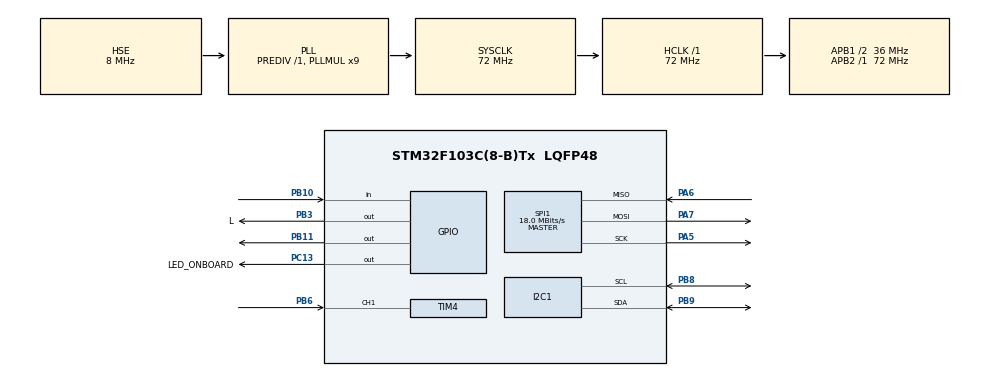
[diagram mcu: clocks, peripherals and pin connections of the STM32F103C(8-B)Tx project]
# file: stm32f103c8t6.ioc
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Mcu.Family=STM32F1
Mcu.Name=STM32F103C(8-B)Tx
Mcu.Package=LQFP48
NVIC.PriorityGroup=NVIC_PRIORITYGROUP_4
NVIC.TIM3_IRQn=true\:0\:0\:false\:false\:true
NVIC.TIM4_IRQn=true\:0\:0\:false\:false\:true
PA13.Mode=Serial_Wire
PA13.Signal=SYS_JTMS-SWDIO
PA14.Mode=Serial_Wire
PA14.Signal=SYS_JTCK-SWCLK
PA5.Mode=Full_Duplex_Master
PA5.Signal=SPI1_SCK
PA6.Mode=Full_Duplex_Master
PA6.Signal=SPI1_MISO
PA7.Mode=Full_Duplex_Master
PA7.Signal=SPI1_MOSI
PB10.Signal=GPIO_Input
PB11.Signal=GPIO_Output
PB3.GPIO_Label=L
PB3.GPIO_Speed=GPIO_SPEED_FREQ_HIGH
PB3.Signal=GPIO_Output
PB6.Signal=S_TIM4_CH1
PB8.Mode=I2C
PB8.Signal=I2C1_SCL
PB9.Mode=I2C
PB9.Signal=I2C1_SDA
PC13-TAMPER-RTC.GPIO_Label=LED_ONBOARD
PC13-TAMPER-RTC.GPIO_Speed=GPIO_SPEED_FREQ_LOW
PC13-TAMPER-RTC.Signal=GPIO_Output
PD0-OSC_IN.Mode=HSE-External-Oscillator
PD0-OSC_IN.Signal=RCC_OSC_IN
PD1-OSC_OUT.Mode=HSE-External-Oscillator
PD1-OSC_OUT.Signal=RCC_OSC_OUT
ProjectManager.HeapSize=0x200
ProjectManager.StackSize=0x400
ProjectManager.TargetToolchain=SW4STM32
RCC.ADCPresc=RCC_ADCPCLK2_DIV6
RCC.AHBFreq_Value=72000000
RCC.APB1CLKDivider=RCC_HCLK_DIV2
RCC.APB1Freq_Value=36000000
RCC.APB1TimFreq_Value=72000000
RCC.APB2Freq_Value=72000000
RCC.APB2TimFreq_Value=72000000
RCC.HCLKFreq_Value=72000000
RCC.HSIState=RCC_HSI_ON
RCC.PLLMUL=RCC_PLL_MUL9
RCC.PLLSourceVirtual=RCC_PLLSOURCE_HSE
RCC.SYSCLKFreq_VALUE=72000000
RCC.SYSCLKSource=RCC_SYSCLKSOURCE_PLLCLK
RCC.USBFreq_Value=48000000
RCC.USBPrescaler=RCC_USBCLKSOURCE_PLL_DIV1_5
SH.S_TIM4_CH1.0=TIM4_CH1,Input_Capture1_from_TI1
SH.S_TIM4_CH1.1=TIM4_CH1,Input_Capture2_from_TI1
SH.S_TIM4_CH1.2=TIM4_CH1,TriggerSource_TI1FP1
SPI1.BaudRatePrescaler=SPI_BAUDRATEPRESCALER_4
SPI1.CalculateBaudRate=18.0 MBits/s
SPI1.Mode=SPI_MODE_MASTER
TIM2.Period=71
TIM3.Period=100-1
TIM3.Prescaler=(72-1)
TIM3.TIM_MasterOutputTrigger=TIM_TRGO_UPDATE
TIM3.TIM_MasterSlaveMode=TIM_MASTERSLAVEMODE_DISABLE
TIM4.Channel-Input_Capture2_from_TI1=TIM_CHANNEL_2
TIM4.ICPolarity_CH1=TIM_INPUTCHANNELPOLARITY_FALLING
TIM4.Period=65535
TIM4.Prescaler=72-1
TIM4.TIM_MasterOutputTrigger=TIM_TRGO_OC1
VP_CRC_VS_CRC.Mode=CRC_Activate
VP_TIM2_VS_ClockSourceINT.Mode=Internal
VP_TIM3_VS_ClockSourceINT.Mode=Internal
VP_TIM4_VS_ClockSourceINT.Mode=Internal
VP_TIM4_VS_ControllerModeReset.Mode=Reset Mode
board=stm32f103c8t6

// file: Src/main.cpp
/**
  ******************************************************************************
  * File Name          : main.c
  * Description        : Main program body
  ******************************************************************************
  *
  * COPYRIGHT(c) 2016 STMicroelectronics
  *
  * Redistribution and use in source and binary forms, with or without
  *modification,
  * are permitted provided that the following conditions are met:
  *   1. Redistributions of source code must retain the above copyright notice,
  *      this list of conditions and the following disclaimer.
  *   2. Redistributions in binary form must reproduce the above copyright
  *notice,
  *      this list of conditions and the following disclaimer in the
  *documentation
  *      and/or other materials provided with the distribution.
  *   3. Neither the name of STMicroelectronics nor the names of its
  *contributors
  *      may be used to endorse or promote products derived from this software
  *      without specific prior written permission.
  *
  * THIS SOFTWARE IS PROVIDED BY THE COPYRIGHT HOLDERS AND CONTRIBUTORS "AS IS"
  * AND ANY EXPRESS OR IMPLIED WARRANTIES, INCLUDING, BUT NOT LIMITED TO, THE
  * IMPLIED WARRANTIES OF MERCHANTABILITY AND FITNESS FOR A PARTICULAR PURPOSE
  *ARE
  * DISCLAIMED. IN NO EVENT SHALL THE COPYRIGHT HOLDER OR CONTRIBUTORS BE LIABLE
  * FOR ANY DIRECT, INDIRECT, INCIDENTAL, SPECIAL, EXEMPLARY, OR CONSEQUENTIAL
  * DAMAGES (INCLUDING, BUT NOT LIMITED TO, PROCUREMENT OF SUBSTITUTE GOODS OR
  * SERVICES; LOSS OF USE, DATA, OR PROFITS; OR BUSINESS INTERRUPTION) HOWEVER
  * CAUSED AND ON ANY THEORY OF LIABILITY, WHETHER IN CONTRACT, STRICT
  *LIABILITY,
  * OR TORT (INCLUDING NEGLIGENCE OR OTHERWISE) ARISING IN ANY WAY OUT OF THE
  *USE
  * OF THIS SOFTWARE, EVEN IF ADVISED OF THE POSSIBILITY OF SUCH DAMAGE.
  *
  ******************************************************************************
  */
#include "stm32f1xx_hal.h"

/* USER CODE BEGIN Includes */
#include <stdbool.h>
#include "MPU6050.h"
#include "common.h"
#include "infrared.h"
#include "se8r01.h"
#include "sensor.h"
#define USE_OLD_MAPPING 1

// TODO: cleanup when done debugging
/* USER CODE END Includes */

CRC_HandleTypeDef hcrc;

I2C_HandleTypeDef hi2c1;

SPI_HandleTypeDef hspi1;

TIM_HandleTypeDef htim2;
TIM_HandleTypeDef htim3;
TIM_HandleTypeDef htim4;

/* USER CODE BEGIN PV */
/* Private variables ---------------------------------------------------------*/
/// parameters for receiver ===================
const GPIO_TypeDef *IR_IN_Gpio_Port = GPIOB;
extern uint16_t IR_IN_Gpio_Pin = GPIO_PIN_10;

TIM_HandleTypeDef *ptim_input_capture = &htim4;
TIM_HandleTypeDef *ptim_data_read = &htim3;
namespace auvir {
extern TIM_HandleTypeDef *const phtim_delay = &htim2;
}

extern const bool _is_direct_logic;
const bool _debug = true;

extern GPIO_TypeDef *GPIO_LED_PORT;
extern uint16_t GPIO_LED_PIN;

/// ===========================================

/* USER CODE END PV */

void SystemClock_Config(void);
void Error_Handler(void);
static void MX_GPIO_Init(void);
static void MX_CRC_Init(void);
static void MX_SPI1_Init(void);
static void MX_TIM3_Init(void);
static void MX_TIM4_Init(void);
static void MX_TIM2_Init(void);
static void MX_I2C1_Init(void);

/* USER CODE BEGIN PFP */
/* Private function prototypes -----------------------------------------------*/
HAL_StatusTypeDef HAL_TIM_IC_PWM_Start_IT(const TIM_HandleTypeDef *htim);
HAL_StatusTypeDef HAL_TIM_IC_PWM_Stop_IT(const TIM_HandleTypeDef *htim);
void send_data_uart();
void setup_infrared_input_gpio();

extern uint8_t rx_buf[TX_PLOAD_WIDTH];
extern uint8_t tx_buf[TX_PLOAD_WIDTH];
extern RadioMessage rx_message;
extern RadioMessage tx_message;

extern NRF_Module default_module;
extern NRF_Module data_module;

extern RadioDevInfo radiodevinfo;
extern SensorData sensordata;
BeamerData beamerdata = {0};
IMUData imudata = {0};

/* USER CODE END PFP */

/* USER CODE BEGIN 0 */
/// ======================= USART stuff =======================
HAL_StatusTypeDef status;
extern DataFrame_t rx_data_frame;

const char mode = 'r';  // 't'
/* USER CODE END 0 */

int main(void) {

  /* MCU
   * Configuration----------------------------------------------------------*/
  /* Reset of all peripherals, Initializes the Flash interface and the Systick.
   */
  HAL_Init();

  /* Configure the system clock */
  SystemClock_Config();

  /* Initialize all configured peripherals */
  MX_GPIO_Init();
  MX_CRC_Init();
  MX_SPI1_Init();
  MX_TIM3_Init();
  MX_TIM4_Init();
  MX_TIM2_Init();
  MX_I2C1_Init();

  /* USER CODE BEGIN 2 */
  setup_infrared_input_gpio();

  bool use_radio = true;

  if (use_radio) {
    configure_gpio_radio();
  }

  // TODO: setting the timer. merge with TIM_Init

  //// start usec delay timer
  HAL_TIM_Base_Start(&htim2);

  bool enable_IR_timers = true;  // TODO
  if (enable_IR_timers) {
    setup_ic_timer();
    HAL_TIM_Base_Start_IT(ptim_data_read);
    HAL_TIM_IC_PWM_Start_IT(ptim_input_capture);
  }
  /* USER CODE END 2 */

  /* Infinite loop */
  /* USER CODE BEGIN WHILE */

  // use identical bytes
  bool is_transmitter = (mode == 't');
  bool is_receiver = !is_transmitter;

  const NRF24_Mode mode = NRF24_Mode::Receiver;

  if (use_radio) {
    setup_radio(&default_module, mode);
  }

  // nrf_without_this_interrupts_not_work();
  HAL_Delay(100);

  if (MPU6050_testConnection()) {
    HAL_GPIO_WritePin(LED_ONBOARD_Port, LED_ONBOARD_Pin, GPIO_PIN_SET);
  } else {
    HAL_GPIO_WritePin(LED_ONBOARD_Port, LED_ONBOARD_Pin, GPIO_PIN_RESET);
  }

  while (1) {
    /*
    GPIO_PinState state = HAL_GPIO_ReadPin (GPIOB, GPIO_PIN_6);
    if(state == GPIO_PIN_SET){
        HAL_GPIO_WritePin (GPIOB, GPIO_PIN_11, GPIO_PIN_SET);
        HAL_GPIO_WritePin (LED_ONBOARD_Port, LED_ONBOARD_Pin,
    GPIO_PIN_SET);
    }
    else{
        HAL_GPIO_WritePin (GPIOB, GPIO_PIN_11, GPIO_PIN_RESET);
        HAL_GPIO_WritePin (LED_ONBOARD_Port, LED_ONBOARD_Pin,
    GPIO_PIN_SET);
    }
    */

    if (use_radio) {
      if (is_receiver) {
        RXX(&default_module);  // - this is called on IRQ
      } else if (is_transmitter) {
        //=================== prepare message for sending
        // Determine source of packet
        radio_tx_set_message_header(WhoAmI_Sensor, Dest_UsbDevice,
                                    Typ_SensorData);

        SingleBeamerData singlebeamdata;
        singlebeamdata.angle = 124;
        singlebeamdata.beamer_id = 1;

        beamerdata.beamer_data_array[0] = singlebeamdata;

        radio_tx_set_sensordata(&sensordata);
        //=====================

        TXX(&default_module);
        HAL_Delay(30);
      }
    }

    /* USER CODE END WHILE */

  }
}

/** System Clock Configuration
*/
void SystemClock_Config(void) {
  RCC_OscInitTypeDef RCC_OscInitStruct;
  RCC_ClkInitTypeDef RCC_ClkInitStruct;

  RCC_OscInitStruct.OscillatorType = RCC_OSCILLATORTYPE_HSE;
  RCC_OscInitStruct.HSEState = RCC_HSE_ON;
  RCC_OscInitStruct.HSEPredivValue = RCC_HSE_PREDIV_DIV1;
  RCC_OscInitStruct.PLL.PLLState = RCC_PLL_ON;
  RCC_OscInitStruct.PLL.PLLSource = RCC_PLLSOURCE_HSE;
  RCC_OscInitStruct.PLL.PLLMUL = RCC_PLL_MUL9;
  if (HAL_RCC_OscConfig(&RCC_OscInitStruct) != HAL_OK) {
    Error_Handler();
  }

  RCC_ClkInitStruct.ClockType = RCC_CLOCKTYPE_HCLK | RCC_CLOCKTYPE_SYSCLK |
                                RCC_CLOCKTYPE_PCLK1 | RCC_CLOCKTYPE_PCLK2;
  RCC_ClkInitStruct.SYSCLKSource = RCC_SYSCLKSOURCE_PLLCLK;
  RCC_ClkInitStruct.AHBCLKDivider = RCC_SYSCLK_DIV1;
  RCC_ClkInitStruct.APB1CLKDivider = RCC_HCLK_DIV2;
  RCC_ClkInitStruct.APB2CLKDivider = RCC_HCLK_DIV1;
  if (HAL_RCC_ClockConfig(&RCC_ClkInitStruct, FLASH_LATENCY_2) != HAL_OK) {
    Error_Handler();
  }

  HAL_SYSTICK_Config(HAL_RCC_GetHCLKFreq() / 1000);

  HAL_SYSTICK_CLKSourceConfig(SYSTICK_CLKSOURCE_HCLK);

  /* SysTick_IRQn interrupt configuration */
  HAL_NVIC_SetPriority(SysTick_IRQn, 0, 0);
}

/* CRC init function */
static void MX_CRC_Init(void) {
  hcrc.Instance = CRC;
  if (HAL_CRC_Init(&hcrc) != HAL_OK) {
    Error_Handler();
  }
}

/* I2C1 init function */
static void MX_I2C1_Init(void) {
  hi2c1.Instance = I2C1;
  hi2c1.Init.ClockSpeed = 100000;
  hi2c1.Init.DutyCycle = I2C_DUTYCYCLE_2;
  hi2c1.Init.OwnAddress1 = 0;
  hi2c1.Init.AddressingMode = I2C_ADDRESSINGMODE_7BIT;
  hi2c1.Init.DualAddressMode = I2C_DUALADDRESS_DISABLE;
  hi2c1.Init.OwnAddress2 = 0;
  hi2c1.Init.GeneralCallMode = I2C_GENERALCALL_DISABLE;
  hi2c1.Init.NoStretchMode = I2C_NOSTRETCH_DISABLE;
  if (HAL_I2C_Init(&hi2c1) != HAL_OK) {
    Error_Handler();
  }
}

/* SPI1 init function */
static void MX_SPI1_Init(void) {
  hspi1.Instance = SPI1;
  hspi1.Init.Mode = SPI_MODE_MASTER;
  hspi1.Init.Direction = SPI_DIRECTION_2LINES;
  hspi1.Init.DataSize = SPI_DATASIZE_8BIT;
  hspi1.Init.CLKPolarity = SPI_POLARITY_LOW;
  hspi1.Init.CLKPhase = SPI_PHASE_1EDGE;
  hspi1.Init.NSS = SPI_NSS_SOFT;
  hspi1.Init.BaudRatePrescaler = SPI_BAUDRATEPRESCALER_4;
  hspi1.Init.FirstBit = SPI_FIRSTBIT_MSB;
  hspi1.Init.TIMode = SPI_TIMODE_DISABLE;
  hspi1.Init.CRCCalculation = SPI_CRCCALCULATION_DISABLE;
  hspi1.Init.CRCPolynomial = 10;
  if (HAL_SPI_Init(&hspi1) != HAL_OK) {
    Error_Handler();
  }
}

/* TIM2 init function */
static void MX_TIM2_Init(void) {
  TIM_ClockConfigTypeDef sClockSourceConfig;
  TIM_MasterConfigTypeDef sMasterConfig;

  htim2.Instance = TIM2;
  htim2.Init.Prescaler = 0;
  htim2.Init.CounterMode = TIM_COUNTERMODE_UP;
  htim2.Init.Period = 71;
  htim2.Init.ClockDivision = TIM_CLOCKDIVISION_DIV1;
  if (HAL_TIM_Base_Init(&htim2) != HAL_OK) {
    Error_Handler();
  }

  sClockSourceConfig.ClockSource = TIM_CLOCKSOURCE_INTERNAL;
  if (HAL_TIM_ConfigClockSource(&htim2, &sClockSourceConfig) != HAL_OK) {
    Error_Handler();
  }

  sMasterConfig.MasterOutputTrigger = TIM_TRGO_RESET;
  sMasterConfig.MasterSlaveMode = TIM_MASTERSLAVEMODE_DISABLE;
  if (HAL_TIMEx_MasterConfigSynchronization(&htim2, &sMasterConfig) != HAL_OK) {
    Error_Handler();
  }
}

/* TIM3 init function */
static void MX_TIM3_Init(void) {
  TIM_ClockConfigTypeDef sClockSourceConfig;
  TIM_MasterConfigTypeDef sMasterConfig;

  htim3.Instance = TIM3;
  htim3.Init.Prescaler = (72 - 1);
  htim3.Init.CounterMode = TIM_COUNTERMODE_UP;
  htim3.Init.Period = 100 - 1;
  htim3.Init.ClockDivision = TIM_CLOCKDIVISION_DIV1;
  if (HAL_TIM_Base_Init(&htim3) != HAL_OK) {
    Error_Handler();
  }

  sClockSourceConfig.ClockSource = TIM_CLOCKSOURCE_INTERNAL;
  if (HAL_TIM_ConfigClockSource(&htim3, &sClockSourceConfig) != HAL_OK) {
    Error_Handler();
  }

  sMasterConfig.MasterOutputTrigger = TIM_TRGO_UPDATE;
  sMasterConfig.MasterSlaveMode = TIM_MASTERSLAVEMODE_DISABLE;
  if (HAL_TIMEx_MasterConfigSynchronization(&htim3, &sMasterConfig) != HAL_OK) {
    Error_Handler();
  }
}

/* TIM4 init function */
static void MX_TIM4_Init(void) {
  TIM_ClockConfigTypeDef sClockSourceConfig;
  TIM_SlaveConfigTypeDef sSlaveConfig;
  TIM_MasterConfigTypeDef sMasterConfig;
  TIM_IC_InitTypeDef sConfigIC;

  htim4.Instance = TIM4;
  htim4.Init.Prescaler = 72 - 1;
  htim4.Init.CounterMode = TIM_COUNTERMODE_UP;
  htim4.Init.Period = 65535;
  htim4.Init.ClockDivision = TIM_CLOCKDIVISION_DIV1;
  if (HAL_TIM_Base_Init(&htim4) != HAL_OK) {
    Error_Handler();
  }

  sClockSourceConfig.ClockSource = TIM_CLOCKSOURCE_INTERNAL;
  if (HAL_TIM_ConfigClockSource(&htim4, &sClockSourceConfig) != HAL_OK) {
    Error_Handler();
  }

  if (HAL_TIM_IC_Init(&htim4) != HAL_OK) {
    Error_Handler();
  }

  sSlaveConfig.SlaveMode = TIM_SLAVEMODE_RESET;
  sSlaveConfig.InputTrigger = TIM_TS_TI1FP1;
  sSlaveConfig.TriggerPolarity = TIM_INPUTCHANNELPOLARITY_FALLING;
  sSlaveConfig.TriggerFilter = 0;
  if (HAL_TIM_SlaveConfigSynchronization(&htim4, &sSlaveConfig) != HAL_OK) {
    Error_Handler();
  }

  sMasterConfig.MasterOutputTrigger = TIM_TRGO_OC1;
  sMasterConfig.MasterSlaveMode = TIM_MASTERSLAVEMODE_DISABLE;
  if (HAL_TIMEx_MasterConfigSynchronization(&htim4, &sMasterConfig) != HAL_OK) {
    Error_Handler();
  }

  sConfigIC.ICPolarity = TIM_INPUTCHANNELPOLARITY_FALLING;
  sConfigIC.ICSelection = TIM_ICSELECTION_DIRECTTI;
  sConfigIC.ICPrescaler = TIM_ICPSC_DIV1;
  sConfigIC.ICFilter = 0;
  if (HAL_TIM_IC_ConfigChannel(&htim4, &sConfigIC, TIM_CHANNEL_1) != HAL_OK) {
    Error_Handler();
  }

  sConfigIC.ICPolarity = TIM_INPUTCHANNELPOLARITY_RISING;
  sConfigIC.ICSelection = TIM_ICSELECTION_INDIRECTTI;
  if (HAL_TIM_IC_ConfigChannel(&htim4, &sConfigIC, TIM_CHANNEL_2) != HAL_OK) {
    Error_Handler();
  }
}

/** Configure pins as
        * Analog
        * Input
        * Output
        * EVENT_OUT
        * EXTI
*/
static void MX_GPIO_Init(void) {
  GPIO_InitTypeDef GPIO_InitStruct;

  /* GPIO Ports Clock Enable */
  __HAL_RCC_GPIOC_CLK_ENABLE();
  __HAL_RCC_GPIOD_CLK_ENABLE();
  __HAL_RCC_GPIOA_CLK_ENABLE();
  __HAL_RCC_GPIOB_CLK_ENABLE();

  /*Configure GPIO pin Output Level */
  HAL_GPIO_WritePin(LED_ONBOARD_Port, LED_ONBOARD_Pin, GPIO_PIN_RESET);

  /*Configure GPIO pin Output Level */
  HAL_GPIO_WritePin(GPIOB, GPIO_PIN_11 | LED_DBG_Pin, GPIO_PIN_RESET);

  /*Configure GPIO pin : LED_ONBOARD_Pin */
  GPIO_InitStruct.Pin = LED_ONBOARD_Pin;
  GPIO_InitStruct.Mode = GPIO_MODE_OUTPUT_PP;
  GPIO_InitStruct.Speed = GPIO_SPEED_FREQ_LOW;
  HAL_GPIO_Init(LED_ONBOARD_Port, &GPIO_InitStruct);

  /*Configure GPIO pin : PB10 */
  GPIO_InitStruct.Pin = GPIO_PIN_10;
  GPIO_InitStruct.Mode = GPIO_MODE_INPUT;
  GPIO_InitStruct.Pull = GPIO_NOPULL;
  HAL_GPIO_Init(GPIOB, &GPIO_InitStruct);

  /*Configure GPIO pin : PB11 */
  GPIO_InitStruct.Pin = GPIO_PIN_11;
  GPIO_InitStruct.Mode = GPIO_MODE_OUTPUT_PP;
  GPIO_InitStruct.Speed = GPIO_SPEED_FREQ_HIGH;
  HAL_GPIO_Init(GPIOB, &GPIO_InitStruct);

  /*Configure GPIO pin : LED_DBG_Pin */
  GPIO_InitStruct.Pin = LED_DBG_Pin;
  GPIO_InitStruct.Mode = GPIO_MODE_OUTPUT_PP;
  GPIO_InitStruct.Speed = GPIO_SPEED_FREQ_HIGH;
  HAL_GPIO_Init(LED_DBG_Port, &GPIO_InitStruct);
}

/* USER CODE BEGIN 4 */
HAL_StatusTypeDef HAL_TIM_IC_PWM_Start_IT(const TIM_HandleTypeDef *htim) {
  /* Check the parameters */
  assert_param(IS_TIM_CCX_INSTANCE(htim->Instance, TIM_CHANNEL_1));
  assert_param(IS_TIM_CCX_INSTANCE(htim->Instance, TIM_CHANNEL_2));

  /* Enable the TIM Capture/Compare 1 interrupt */
  __HAL_TIM_ENABLE_IT(htim, TIM_IT_CC1);
  /* Enable the TIM Capture/Compare 2 interrupt */
  __HAL_TIM_ENABLE_IT(htim, TIM_IT_CC2);

  /* Enable the Input Capture channel */
  TIM_CCxChannelCmd(htim->Instance, TIM_CHANNEL_1, TIM_CCx_ENABLE);
  TIM_CCxChannelCmd(htim->Instance, TIM_CHANNEL_2, TIM_CCx_ENABLE);

  /* Enable the Peripheral */
  __HAL_TIM_ENABLE(htim);

  /* Return function status */
  return HAL_OK;
}
HAL_StatusTypeDef HAL_TIM_IC_PWM_Stop_IT(const TIM_HandleTypeDef *htim) {
  assert_param(IS_TIM_CCX_INSTANCE(htim->Instance, TIM_CHANNEL_1));
  assert_param(IS_TIM_CCX_INSTANCE(htim->Instance, TIM_CHANNEL_2));

  __HAL_TIM_DISABLE_IT(htim, TIM_IT_CC1);
  __HAL_TIM_DISABLE_IT(htim, TIM_IT_CC2);

  /* Disable the Input Capture channel */
  TIM_CCxChannelCmd(htim->Instance, TIM_CHANNEL_1, TIM_CCx_DISABLE);
  TIM_CCxChannelCmd(htim->Instance, TIM_CHANNEL_2, TIM_CCx_DISABLE);

  /* Disable the Peripheral */
  __HAL_TIM_DISABLE(htim);

  /* Return function status */
  return HAL_OK;
}

void nrf_receive_callback() { HAL_GPIO_TogglePin(GPIOC, GPIO_PIN_13); }

void setup_infrared_input_gpio() {
  GPIO_InitTypeDef GPIO_InitStruct;

  /*Configure GPIO pin : LED_ONBOARD_Pin */
  GPIO_InitStruct.Pin = IR_IN_Gpio_Pin;
  GPIO_InitStruct.Mode = GPIO_MODE_INPUT;
  GPIO_InitStruct.Pull = GPIO_NOPULL;
  HAL_GPIO_Init(const_cast<GPIO_TypeDef *>(IR_IN_Gpio_Port),
                reinterpret_cast<GPIO_InitTypeDef *>(&GPIO_InitStruct));
}
/*
void HAL_TIM_PeriodElapsedCallback(TIM_HandleTypeDef *htim)
{
    // handle tim2 event since it is delay event
  if(htim->Instance == TIM2)
  {
      if(us_cnt > us_delay_value - 1){
        HAL_TIM_Base_Stop_IT(&htim2);
      }
  }
}
*/

/* USER CODE END 4 */

void Error_Handler(void) {
  while (1) {
  }
}

#ifdef USE_FULL_ASSERT

/**
   * @brief Reports the name of the source file and the source line number
   * where the assert_param error has occurred.
   * @param file: pointer to the source file name
   * @param line: assert_param error line source number
   * @retval None
   */
void assert_failed(uint8_t *file, uint32_t line) {
  /* USER CODE BEGIN 6 */
  /* User can add his own implementation to report the file name and line
  number,
  ex: printf("Wrong parameters value: file %s on line %d\r\n", file, line) */
  /* USER CODE END 6 */
}

#endif

/************************ (C) COPYRIGHT STMicroelectronics *****END OF FILE****/
